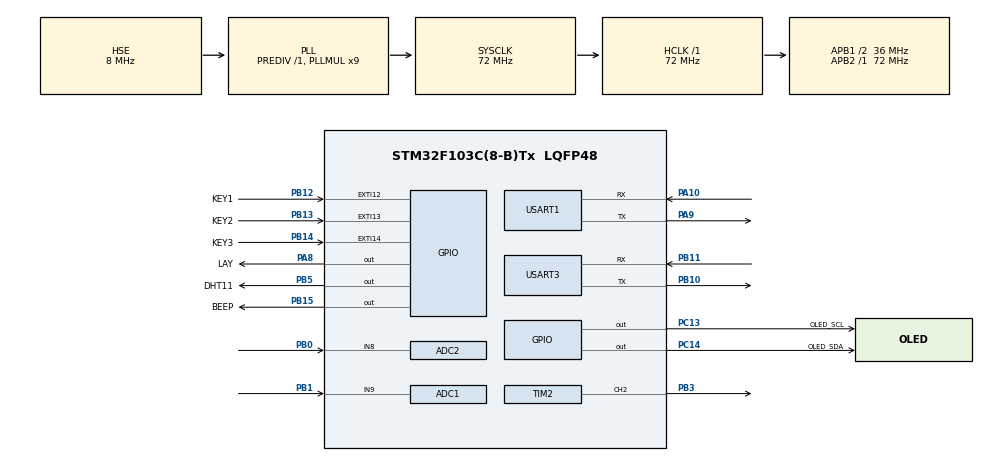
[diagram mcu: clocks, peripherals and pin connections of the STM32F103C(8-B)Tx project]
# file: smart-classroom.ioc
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ADC1.Channel-1\#ChannelRegularConversion=ADC_CHANNEL_9
ADC1.NbrOfConversionFlag=1
ADC1.Rank-1\#ChannelRegularConversion=1
ADC1.SamplingTime-1\#ChannelRegularConversion=ADC_SAMPLETIME_1CYCLE_5
ADC1.master=1
ADC2.Channel-0\#ChannelRegularConversion=ADC_CHANNEL_8
ADC2.NbrOfConversionFlag=1
ADC2.Rank-0\#ChannelRegularConversion=1
ADC2.SamplingTime-0\#ChannelRegularConversion=ADC_SAMPLETIME_1CYCLE_5
Dma.Request0=USART1_RX
Dma.USART1_RX.0.Direction=DMA_PERIPH_TO_MEMORY
Dma.USART1_RX.0.Instance=DMA1_Channel5
Dma.USART1_RX.0.MemDataAlignment=DMA_MDATAALIGN_BYTE
Dma.USART1_RX.0.MemInc=DMA_MINC_ENABLE
Dma.USART1_RX.0.Mode=DMA_NORMAL
Dma.USART1_RX.0.PeriphDataAlignment=DMA_PDATAALIGN_BYTE
Dma.USART1_RX.0.PeriphInc=DMA_PINC_DISABLE
Dma.USART1_RX.0.Priority=DMA_PRIORITY_LOW
Mcu.Family=STM32F1
Mcu.Name=STM32F103C(8-B)Tx
Mcu.Package=LQFP48
NVIC.DMA1_Channel5_IRQn=true\:0\:0\:false\:false\:true\:false\:true\:true
NVIC.EXTI15_10_IRQn=true\:0\:0\:false\:false\:true\:true\:true\:true
NVIC.PriorityGroup=NVIC_PRIORITYGROUP_4
NVIC.TIM2_IRQn=true\:2\:0\:true\:false\:true\:true\:true\:true
NVIC.USART1_IRQn=true\:1\:0\:true\:false\:true\:true\:true\:true
PA10.Mode=Asynchronous
PA10.Signal=USART1_RX
PA13.Mode=Serial_Wire
PA13.Signal=SYS_JTMS-SWDIO
PA14.Mode=Serial_Wire
PA14.Signal=SYS_JTCK-SWCLK
PA8.GPIO_Label=LAY
PA8.GPIO_ModeDefaultOutputPP=GPIO_MODE_OUTPUT_PP
PA8.GPIO_PuPd=GPIO_PULLDOWN
PA8.GPIO_Speed=GPIO_SPEED_FREQ_HIGH
PA8.PinState=GPIO_PIN_SET
PA8.Signal=GPIO_Output
PA9.Mode=Asynchronous
PA9.Signal=USART1_TX
PB0.Signal=ADCx_IN8
PB1.Signal=ADCx_IN9
PB10.Mode=Asynchronous
PB10.Signal=USART3_TX
PB11.Mode=Asynchronous
PB11.Signal=USART3_RX
PB12.GPIO_Label=KEY1
PB12.GPIO_ModeDefaultEXTI=GPIO_MODE_IT_FALLING
PB12.GPIO_PuPd=GPIO_PULLUP
PB12.Signal=GPXTI12
PB13.GPIO_Label=KEY2
PB13.GPIO_ModeDefaultEXTI=GPIO_MODE_IT_FALLING
PB13.GPIO_PuPd=GPIO_PULLUP
PB13.Signal=GPXTI13
PB14.GPIO_Label=KEY3
PB14.GPIO_ModeDefaultEXTI=GPIO_MODE_IT_FALLING
PB14.GPIO_PuPd=GPIO_PULLUP
PB14.Signal=GPXTI14
PB15.GPIO_Label=BEEP
PB15.GPIO_ModeDefaultOutputPP=GPIO_MODE_OUTPUT_PP
PB15.GPIO_PuPd=GPIO_PULLUP
PB15.GPIO_Speed=GPIO_SPEED_FREQ_HIGH
PB15.PinState=GPIO_PIN_SET
PB15.Signal=GPIO_Output
PB3.Signal=S_TIM2_CH2
PB5.GPIO_Label=DHT11
PB5.GPIO_ModeDefaultOutputPP=GPIO_MODE_OUTPUT_PP
PB5.GPIO_PuPd=GPIO_PULLUP
PB5.GPIO_Speed=GPIO_SPEED_FREQ_HIGH
PB5.PinState=GPIO_PIN_SET
PB5.Signal=GPIO_Output
PC13-TAMPER-RTC.GPIO_Label=OLED_SCL
PC13-TAMPER-RTC.GPIO_ModeDefaultOutputPP=GPIO_MODE_OUTPUT_PP
PC13-TAMPER-RTC.GPIO_PuPd=GPIO_PULLUP
PC13-TAMPER-RTC.GPIO_Speed=GPIO_SPEED_FREQ_HIGH
PC13-TAMPER-RTC.PinState=GPIO_PIN_SET
PC13-TAMPER-RTC.Signal=GPIO_Output
PC14-OSC32_IN.GPIO_Label=OLED_SDA
PC14-OSC32_IN.GPIO_PuPd=GPIO_PULLUP
PC14-OSC32_IN.GPIO_Speed=GPIO_SPEED_FREQ_HIGH
PC14-OSC32_IN.PinState=GPIO_PIN_SET
PC14-OSC32_IN.Signal=GPIO_Output
PD0-OSC_IN.Mode=HSE-External-Oscillator
PD0-OSC_IN.Signal=RCC_OSC_IN
PD1-OSC_OUT.Mode=HSE-External-Oscillator
PD1-OSC_OUT.Signal=RCC_OSC_OUT
ProjectManager.HeapSize=0x200
ProjectManager.StackSize=0x400
ProjectManager.TargetToolchain=MDK-ARM V5.32
RCC.ADCPresc=RCC_ADCPCLK2_DIV6
RCC.AHBFreq_Value=72000000
RCC.APB1CLKDivider=RCC_HCLK_DIV2
RCC.APB1Freq_Value=36000000
RCC.APB1TimFreq_Value=72000000
RCC.APB2Freq_Value=72000000
RCC.APB2TimFreq_Value=72000000
RCC.HCLKFreq_Value=72000000
RCC.PLLMUL=RCC_PLL_MUL9
RCC.PLLSourceVirtual=RCC_PLLSOURCE_HSE
RCC.SYSCLKFreq_VALUE=72000000
RCC.SYSCLKSource=RCC_SYSCLKSOURCE_PLLCLK
RCC.USBFreq_Value=72000000
SH.ADCx_IN8.0=ADC2_IN8,IN8
SH.ADCx_IN9.0=ADC1_IN9,IN9
SH.S_TIM2_CH2.0=TIM2_CH2,PWM Generation2 CH2
TIM2.AutoReloadPreload=TIM_AUTORELOAD_PRELOAD_ENABLE
TIM2.Channel-PWM\ Generation2\ CH2=TIM_CHANNEL_2
TIM2.Period=199
TIM2.Prescaler=71
USART1.VirtualMode=VM_ASYNC
USART3.VirtualMode=VM_ASYNC
VP_TIM2_VS_ClockSourceINT.Mode=Internal
board=custom

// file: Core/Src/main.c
/* USER CODE BEGIN Header */
/**
  ******************************************************************************
  * @file           : main.c
  * @brief          : Main program body
  ******************************************************************************
  * @attention
  *
  * Copyright (c) 2026 STMicroelectronics.
  * All rights reserved.
  *
  * This software is licensed under terms that can be found in the LICENSE file
  * in the root directory of this software component.
  * If no LICENSE file comes with this software, it is provided AS-IS.
  *
  ******************************************************************************
  */
/* USER CODE END Header */
#include "main.h"
#include "adc.h"
#include "dma.h"
#include "tim.h"
#include "usart.h"
#include "gpio.h"

/* USER CODE BEGIN Includes */
#include "oled.h"
#include "delay.h"
#include "esp8266.h"
#include "dht11.h"
#include "stm32f1xx_hal_flash.h"
#include "stm32f1xx_hal_flash_ex.h"
#include "mqtt_publisher.h"
/* USER CODE END Includes */

/* USER CODE BEGIN PTD */
// 阈值数据结构体
typedef struct {
    uint16_t light_threshold;  // 光照阈值
    uint16_t mq2_threshold;    // MQ2阈值
    uint8_t temp_threshold;     // 温度阈值
    uint8_t hum_threshold;      // 湿度阈值
    uint32_t magic_number;      // 魔术数字，用于验证数据有效性
} Threshold_Data_t;

#define MAGIC_NUMBER 0x55AA55AA  // 魔术数字
/* USER CODE END PTD */

/* USER CODE BEGIN PD */
// FLASH存储地址，选择FLASH末尾的一页
#define FLASH_USER_START_ADDR   ((uint32_t)0x0800FC00)  // 对于64KB FLASH的STM32F103C8T6，最后一页的起始地址
#define FLASH_USER_END_ADDR     ((uint32_t)0x0800FFFF)  // FLASH结束地址
/* USER CODE END PD */

/* USER CODE BEGIN PV */
// 阈值变量
uint16_t light_threshold = 2000;  // 光照阈值，范围0-4200，步长500
uint16_t mq2_threshold = 2000;    // MQ2阈值，范围0-4200，步长500
uint8_t temp_threshold = 25;       // 温度阈值，范围0-40，步长1
uint8_t hum_threshold = 50;        // 湿度阈值，范围0-100，步长10

// 设置界面相关变量
uint8_t setting_mode = 0;  // 0: 正常模式，1: 设置模式
uint8_t setting_index = 0; // 0: 光照，1: MQ2，2: 温度，3: 湿度

// 舵机控制相关变量
uint8_t servo_flag = 0;  // 舵机控制标志，0: 空闲，1: 正在控制
/* USER CODE END PV */

void SystemClock_Config(void);
/* USER CODE BEGIN PFP */
void TimeSettingInterface(void);
void SettingInterface(void);
void HAL_GPIO_EXTI_Callback(uint16_t GPIO_Pin);
void Flash_Read_Threshold(void);
void Flash_Write_Threshold(void);
void Servo_Control(uint16_t angle);
/* USER CODE END PFP */

/* USER CODE BEGIN 0 */

/**
  * @brief  从FLASH读取阈值数据
  * @retval None
  */
void Flash_Read_Threshold(void)
{
    Threshold_Data_t *threshold_data = (Threshold_Data_t *)FLASH_USER_START_ADDR;

    // 验证数据有效性
    if (threshold_data->magic_number == MAGIC_NUMBER)
    {
        // 数据有效，读取阈值
        light_threshold = threshold_data->light_threshold;
        mq2_threshold = threshold_data->mq2_threshold;
        temp_threshold = threshold_data->temp_threshold;
        hum_threshold = threshold_data->hum_threshold;
    }
    else
    {
        // 数据无效，使用默认值
        light_threshold = 4200;
        mq2_threshold = 4200;
        temp_threshold = 30;
        hum_threshold = 90;

        // 写入默认值到FLASH
        Flash_Write_Threshold();
    }
}

/**
  * @brief  控制SG90舵机转动到指定角度
  * @param  angle: 目标角度（0-180度）
  * @retval None
  */
void Servo_Control(uint16_t angle)
{
    // SG90舵机PWM信号周期为20ms，高电平时间为0.5ms-2.5ms对应0-180度
    // TIM2配置：72MHz / (7199+1) = 10kHz
    // 周期：199，PWM周期为 (199+1)/10kHz = 20ms，正确
    // 脉冲宽度：0.5ms-2.5ms对应比较值：5-25
    uint16_t compare_value = 5 + (angle * 20) / 18;  // 5 + (angle * 20)/18

    // 确保比较值在有效范围内
    if (compare_value < 5) compare_value = 5;    // 0度
    if (compare_value > 25) compare_value = 25;  // 180度

    // 设置PWM脉冲宽度
    __HAL_TIM_SET_COMPARE(&htim2, TIM_CHANNEL_2, compare_value);
}

/**
  * @brief  向FLASH写入阈值数据
  * @retval None
  */
void Flash_Write_Threshold(void)
{
    HAL_FLASH_Unlock();  // 解锁FLASH

    // 擦除FLASH页
    FLASH_EraseInitTypeDef EraseInitStruct;
    EraseInitStruct.TypeErase = FLASH_TYPEERASE_PAGES;
    EraseInitStruct.PageAddress = FLASH_USER_START_ADDR;
    EraseInitStruct.NbPages = 1;

    uint32_t PageError = 0;
    HAL_FLASHEx_Erase(&EraseInitStruct, &PageError);

    // 准备数据
    Threshold_Data_t threshold_data;
    threshold_data.light_threshold = light_threshold;
    threshold_data.mq2_threshold = mq2_threshold;
    threshold_data.temp_threshold = temp_threshold;
    threshold_data.hum_threshold = hum_threshold;
    threshold_data.magic_number = MAGIC_NUMBER;

    // 写入数据
    uint32_t *data_ptr = (uint32_t *)&threshold_data;
    for (uint8_t i = 0; i < sizeof(Threshold_Data_t) / 4; i++)
    {
        HAL_FLASH_Program(FLASH_TYPEPROGRAM_WORD, FLASH_USER_START_ADDR + i * 4, data_ptr[i]);
    }

    HAL_FLASH_Lock();  // 锁定FLASH
}

/**
  * @brief  设置界面
  * @retval None
  */
void SettingInterface(void)
{
    while (setting_mode)
    {
        OLED_Clear();

        // 显示各个选项及其值，每个选项单独一行
        OLED_ShowString(0, 0, (uint8_t*)"Light:", 8, 1);
        OLED_ShowNum(40, 0, light_threshold, 4, 8, 1);

        OLED_ShowString(0, 8, (uint8_t*)"MQ2:", 8, 1);
        OLED_ShowNum(40, 8, mq2_threshold, 4, 8, 1);

        OLED_ShowString(0, 16, (uint8_t*)"Temp:", 8, 1);
        OLED_ShowNum(40, 16, temp_threshold, 2, 8, 1);
        OLED_ShowChar(55, 16, 'C', 8, 1);

        // 最后一个选项和EXIT在同一行
        OLED_ShowString(0, 24, (uint8_t*)"Hum:", 8, 1);
        OLED_ShowNum(40, 24, hum_threshold, 3, 8, 1);
        OLED_ShowChar(60, 24, '%', 8, 1);
        OLED_ShowString(80, 24, (uint8_t*)"EXIT", 8, 1);

        // 显示当前选中的选项
        switch (setting_index)
        {
            case 0:
                OLED_ShowChar(70, 0, '>', 8, 1);
                break;
            case 1:
                OLED_ShowChar(70, 8, '>', 8, 1);
                break;
            case 2:
                OLED_ShowChar(70, 16, '>', 8, 1);
                break;
            case 3:
                OLED_ShowChar(65, 24, '>', 8, 1);
                break;
        }

        OLED_Refresh();

        // 延迟一段时间，避免过于频繁的显示更新
        delay_ms(100);
    }

    // 退出设置模式时，保存阈值数据到FLASH
    Flash_Write_Threshold();
}

/**
  * @brief  按键中断回调函数
  * @param  GPIO_Pin: 触发中断的引脚
  * @retval None
  */
void HAL_GPIO_EXTI_Callback(uint16_t GPIO_Pin)
{
    // 按键去抖
    delay_ms(10);

    if (GPIO_Pin == KEY1_Pin)
    {
        if (setting_mode)
        {
            // 在设置模式下，KEY1用于切换设置选项
            setting_index = (setting_index + 1) % 4;
            // 当索引回到0时，退出设置模式
            if (setting_index == 0)
            {
                setting_mode = 0;
            }
        }
        else
        {
            // 正常模式下，KEY1用于进入设置模式
            setting_mode = 1;
            setting_index = 0;
        }
    }
    else if (GPIO_Pin == KEY2_Pin && setting_mode)
    {
        // KEY2按下，在设置模式下增加当前选项的值
        switch (setting_index)
        {
            case 0: // 光照
                if (light_threshold < 4200)
                    light_threshold += 500;
                break;
            case 1: // MQ2
                if (mq2_threshold < 4200)
                    mq2_threshold += 500;
                break;
            case 2: // 温度
                if (temp_threshold < 40)
                    temp_threshold += 1;
                break;
            case 3: // 湿度
                if (hum_threshold < 100)
                    hum_threshold += 10;
                break;
        }
    }
    else if (GPIO_Pin == KEY3_Pin && setting_mode)
    {
        // KEY3按下，在设置模式下减少当前选项的值
        switch (setting_index)
        {
            case 0: // 光照
                if (light_threshold > 0)
                    light_threshold -= 500;
                break;
            case 1: // MQ2
                if (mq2_threshold > 0)
                    mq2_threshold -= 500;
                break;
            case 2: // 温度
                if (temp_threshold > 0)
                    temp_threshold -= 1;
                break;
            case 3: // 湿度
                if (hum_threshold > 0)
                    hum_threshold -= 10;
                break;
        }
    }
}

/* USER CODE END 0 */

int main(void)
{

  /* USER CODE BEGIN 1 */
  uint8_t wifi_try = 0, mqtt_try = 0;
  /* USER CODE END 1 */

  /* MCU Configuration--------------------------------------------------------*/

  /* Reset of all peripherals, Initializes the Flash interface and the Systick. */
  HAL_Init();

  /* Configure the system clock */
  SystemClock_Config();

  /* Initialize all configured peripherals */
  MX_GPIO_Init();
  MX_DMA_Init();
  MX_TIM2_Init();
  MX_USART1_UART_Init();
  MX_USART3_UART_Init();
  MX_ADC1_Init();
  MX_ADC2_Init();
  /* USER CODE BEGIN 2 */
  OLED_Init();
    HAL_GPIO_WritePin(LAY_GPIO_Port, LAY_Pin, GPIO_PIN_RESET);
  Delay_Init();
  printf("go\r\n");

  // 从FLASH读取阈值数据
 // Flash_Read_Threshold();

  // 启动PWM
//  __HAL_TIM_SET_COMPARE(&htim2, TIM_CHANNEL_2, 15); // 设置脉冲值为15，对应90度位置
//  HAL_TIM_PWM_Start(&htim2, TIM_CHANNEL_2); // 启动PWM输出
//  // 初始化舵机到90度
//  Servo_Control(90);

	#if 1
  while (wifi_try < 5 && !ESP8266_ConnectWiFi())
  {
		 printf("WiFi connect retry\r\n");
      wifi_try++;
      delay_ms(1000);
  }

				OLED_ShowString(0,0,(uint8_t*)"Cloud Connect...",8,1);
			OLED_Refresh();
	while(mqtt_try<20&&!ESP8266_ConnectCloud())
	{
		 printf("ConnectCloud retry\r\n");
      mqtt_try++;

      delay_ms(2000);
	}

	if(mqtt_try>20)
	{
							OLED_ShowString(0,0,(uint8_t*)"ConnectCloud failed",8,1);
			OLED_Refresh();
		  while(1);
	}
	 printf("ConnectCloud ok\r\n");

	if(!ESP8266_MQTT_Subscribe(MQTT_TOPIC_POST_REPLY,1))
	{
		 printf("MQTT subscribe post_reply failed\r\n");
		  OLED_Clear();
			OLED_ShowString(0,0,(uint8_t*)"ConnectCloud failed",8,1);
			OLED_Refresh();
		  while(1);
	}

		if(!ESP8266_MQTT_Subscribe(MQTT_TOPIC_SET,0))
	{
		  //HAL_UART_Transmit(&huart2, (uint8_t*)"MQTT subscribe failed\r\n", 22, 100);
		  while(1);
	}

	OLED_ShowString(0, 0, (uint8_t*)"init ok", 8, 1);
	OLED_Refresh();
	#endif
	            __HAL_TIM_SET_COMPARE(&htim2, TIM_CHANNEL_2, 500); // 设置脉冲值为500，对应0度
            delay_ms(1000); // 等待舵机到位
            __HAL_TIM_SET_COMPARE(&htim2, TIM_CHANNEL_2, 1500); // 设置脉冲值为1500，对应90度
            delay_ms(1000); // 等待舵机到位
            __HAL_TIM_SET_COMPARE(&htim2, TIM_CHANNEL_2, 500); // 设置脉冲值为500，对应0度
            delay_ms(1000); // 等待舵机到位
  /* USER CODE END 2 */

  /* Infinite loop */
  while (1)
  {

    /* USER CODE BEGIN 3 */
	  if (setting_mode)
	  {
		  // 进入设置模式
		  SettingInterface();
	  }
	  else
	  {
		  // 读取ADC1和ADC2的数值
		  uint32_t adc1_value = ADC1_Read();
		  uint32_t adc2_value = ADC2_Read();

		  // 显示调试信息
		  printf("Light value: %lu, threshold: %u, servo_flag: %d\r\n", adc1_value, light_threshold, servo_flag);

		  // 检测光照值是否大于阈值
		  if (adc1_value > light_threshold && servo_flag == 0)
		  {
			  servo_flag = 1;  // 设置舵机控制标志
			  printf("Light value: %lu > threshold: %u, turning servo...\r\n", adc1_value, light_threshold);

			  // 控制SG90舵机，完整转动一次
			  printf("Setting servo to 0 degrees...\r\n");

			  // 延迟一段时间，避免重复触发
			  delay_ms(2000);
			  servo_flag = 0;  // 清除舵机控制标志
			  printf("Servo control finished, servo_flag reset to 0\r\n");
		  }

		  // 读取DHT11温湿度数据
		  DHT11_Data_TypeDef dht11_data;
		  if (DHT11_Read_Data(&dht11_data) == 0)
		  {
			  // 在OLED上显示数值
			  OLED_Clear();
			  OLED_ShowString(0, 0, (uint8_t*)"ADC1(LDR): ", 8, 1);
			  OLED_ShowNum(70, 0, adc1_value, 4, 8, 1);
			  OLED_ShowString(0, 8, (uint8_t*)"ADC2(MQ2): ", 8, 1);
			  OLED_ShowNum(70, 8, adc2_value, 4, 8, 1);
			  OLED_ShowString(0, 16, (uint8_t*)"Temp:", 8, 1);
			  OLED_ShowNum(30, 16, dht11_data.temperature_int, 2, 8, 1);
			  OLED_ShowChar(45, 16, '.', 8, 1);
			  OLED_ShowNum(53, 16, dht11_data.temperature_dec, 1, 8, 1);
			  OLED_ShowChar(61, 16, 'C', 8, 1);
			  OLED_ShowString(0, 24, (uint8_t*)"Hum:", 8, 1);
			  OLED_ShowNum(30, 24, dht11_data.humidity_int, 2, 8, 1);
			  OLED_ShowChar(45, 24, '.', 8, 1);
			  OLED_ShowNum(53, 24, dht11_data.humidity_dec, 1, 8, 1);
			  OLED_ShowChar(61, 24, '%', 8, 1);
			  OLED_Refresh();

			  // 将温度值发送到云端
			  char temp_str[16];
			  snprintf(temp_str, sizeof(temp_str), "%d.%d", dht11_data.temperature_int, dht11_data.temperature_dec);
			  MQTT_Publish_Data("temperature", temp_str);
			  printf("Temperature published to cloud: %s\r\n", temp_str);

			 char temp_str1[16];
			  snprintf(temp_str, sizeof(temp_str), "%d.%d", dht11_data.humidity_int, dht11_data.humidity_dec);
			  MQTT_Publish_Data("humidity", temp_str);
			  printf("Temperature published to cloud: %s\r\n", temp_str);

							 char temp_str2[16];
			  snprintf(temp_str, sizeof(temp_str), "%d", adc2_value);
			  MQTT_Publish_Data("MQ2", temp_str);
			  printf("Temperature published to cloud: %s\r\n", temp_str);

											 char temp_str3[16];
			  snprintf(temp_str, sizeof(temp_str), "%d", adc1_value);
			  MQTT_Publish_Data("light", temp_str);
			  printf("Temperature published to cloud: %s\r\n", temp_str);

			  // 检测温度和湿度是否超过阈值
			  if (dht11_data.humidity_int > hum_threshold)
			  {
				  // 温湿度超过阈值，拉高继电器
				  //HAL_GPIO_WritePin(LAY_GPIO_Port, LAY_Pin, GPIO_PIN_SET);
				  printf("Temperature or humidity exceeds threshold, relay ON\r\n");
			  }
			  else
			  {
				  // 温湿度在正常范围内，关闭继电器
				  //HAL_GPIO_WritePin(LAY_GPIO_Port, LAY_Pin, GPIO_PIN_RESET);
				  printf("Temperature and humidity normal, relay OFF\r\n");
			  }
		  }

		  // 检测MQ2值是否大于阈值
		  static uint8_t beep_flag = 0;
		  static uint32_t beep_start_time = 0;
		  if (adc2_value > mq2_threshold && beep_flag == 0)
		  {
			  beep_flag = 1;  // 设置蜂鸣器控制标志
			  beep_start_time = HAL_GetTick();  // 记录开始时间
			  printf("MQ2 value: %lu > threshold: %u, activating beep...\r\n", adc2_value, mq2_threshold);

			  // 拉低BEEP进行报警
			  HAL_GPIO_WritePin(BEEP_GPIO_Port, BEEP_Pin, GPIO_PIN_RESET);
		  }

		  // 检查蜂鸣器是否需要关闭
		  if (beep_flag == 1 && (HAL_GetTick() - beep_start_time) >= 5000)
		  {
			  // 关闭蜂鸣器
			  HAL_GPIO_WritePin(BEEP_GPIO_Port, BEEP_Pin, GPIO_PIN_SET);
			  printf("Beep deactivated after 5 seconds\r\n");

			  // 清除蜂鸣器控制标志
			  beep_flag = 0;
		  }

		  // 延迟一段时间
		  delay_ms(1000);
	  }
  }
  /* USER CODE END 3 */
}

void SystemClock_Config(void)
{
  RCC_OscInitTypeDef RCC_OscInitStruct = {0};
  RCC_ClkInitTypeDef RCC_ClkInitStruct = {0};
  RCC_PeriphCLKInitTypeDef PeriphClkInit = {0};

  /** Initializes the RCC Oscillators according to the specified parameters
  * in the RCC_OscInitTypeDef structure.
  */
  RCC_OscInitStruct.OscillatorType = RCC_OSCILLATORTYPE_HSE;
  RCC_OscInitStruct.HSEState = RCC_HSE_ON;
  RCC_OscInitStruct.HSEPredivValue = RCC_HSE_PREDIV_DIV1;
  RCC_OscInitStruct.HSIState = RCC_HSI_ON;
  RCC_OscInitStruct.PLL.PLLState = RCC_PLL_ON;
  RCC_OscInitStruct.PLL.PLLSource = RCC_PLLSOURCE_HSE;
  RCC_OscInitStruct.PLL.PLLMUL = RCC_PLL_MUL9;
  if (HAL_RCC_OscConfig(&RCC_OscInitStruct) != HAL_OK)
  {
    Error_Handler();
  }

  /** Initializes the CPU, AHB and APB buses clocks
  */
  RCC_ClkInitStruct.ClockType = RCC_CLOCKTYPE_HCLK|RCC_CLOCKTYPE_SYSCLK
                              |RCC_CLOCKTYPE_PCLK1|RCC_CLOCKTYPE_PCLK2;
  RCC_ClkInitStruct.SYSCLKSource = RCC_SYSCLKSOURCE_PLLCLK;
  RCC_ClkInitStruct.AHBCLKDivider = RCC_SYSCLK_DIV1;
  RCC_ClkInitStruct.APB1CLKDivider = RCC_HCLK_DIV2;
  RCC_ClkInitStruct.APB2CLKDivider = RCC_HCLK_DIV1;

  if (HAL_RCC_ClockConfig(&RCC_ClkInitStruct, FLASH_LATENCY_2) != HAL_OK)
  {
    Error_Handler();
  }
  PeriphClkInit.PeriphClockSelection = RCC_PERIPHCLK_ADC;
  PeriphClkInit.AdcClockSelection = RCC_ADCPCLK2_DIV6;
  if (HAL_RCCEx_PeriphCLKConfig(&PeriphClkInit) != HAL_OK)
  {
    Error_Handler();
  }
}

void Error_Handler(void)
{
  __disable_irq();
  while (1)
  {
  }
}
